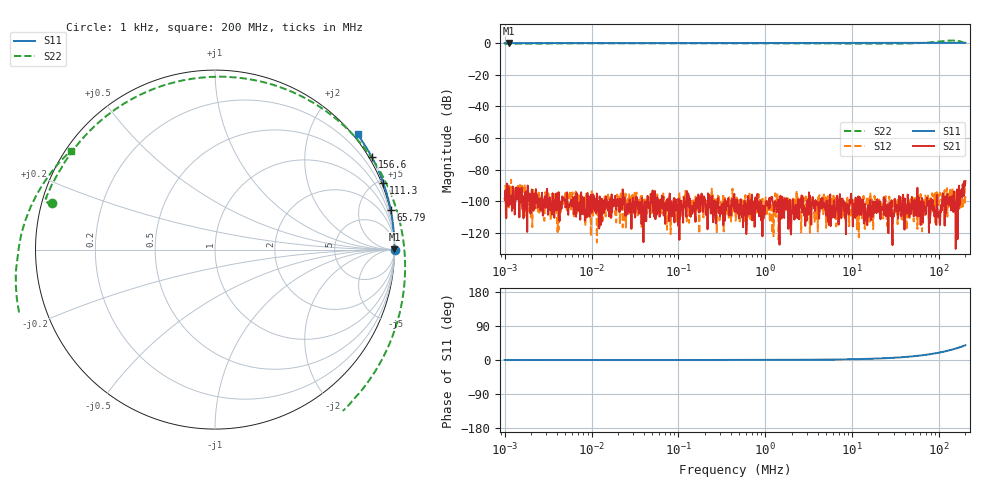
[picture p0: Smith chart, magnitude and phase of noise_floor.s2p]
! ListType=Log
# MHZ S RI R 50
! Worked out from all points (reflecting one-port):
!   1000 points, 1 kHz to 200 MHz, reference 50 ohm
!   lowest |S11| = 0.0 dB at 1.13 kHz (marker M1)
!   phase of S11 starts at 0 deg and turns +39 deg over the sweep
!   S11 on the Smith chart (normalised r, x): 1 kHz: open; 65.79 MHz: -0.16, +8.88; 111.3 MHz: -0.13, +5.22; 156.6 MHz: -0.10, +3.66; 200 MHz: -0.09, +2.82
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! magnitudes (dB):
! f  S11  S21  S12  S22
! 1 kHz  0.0  -98.4  -89.9  -0.5
! 1.13 kHz  0.0  -93.6  -90.1  -0.5
! 3.393 kHz  0.0  -105.6  -112.0  -0.2
! 7.694 kHz  0.0  -107.9  -101.3  -0.2
! 58.48 kHz  0.0  -104.5  -102.4  -0.1
! 450 kHz  0.0  -101.1  -102.7  -0.2
! 3.42 MHz  0.0  -100.9  -102.6  -0.2
! 26.31 MHz  0.0  -104.6  -106.0  -0.4
! 44.5 MHz  0.0  -100.7  -104.3  -0.2
! 54.77 MHz  0.0  -100.0  -97.4  -0.1
! 65.79 MHz  0.0  -100.5  -100.5  0.1
! 82.98 MHz  0.0  -100.8  -94.9  0.5
! 111.3 MHz  0.1  -102.9  -98.3  1.2
! 124.2 MHz  0.1  -95.2  -109.7  1.5
! 135.3 MHz  0.1  -100.4  -103.8  1.6
! 145.6 MHz  0.1  -106.7  -97.4  1.6
! 156.6 MHz  0.1  -109.7  -99.7  1.5
! 166.5 MHz  0.1  -105.1  -98.2  1.3
! 174.8 MHz  0.1  -94.6  -103.0  1.0
! 181.4 MHz  0.2  -92.5  -104.2  0.8
! 192.8 MHz  0.2  -87.6  -97.2  0.2
! 200 MHz  0.2  -87.2  -96.8  -0.2
